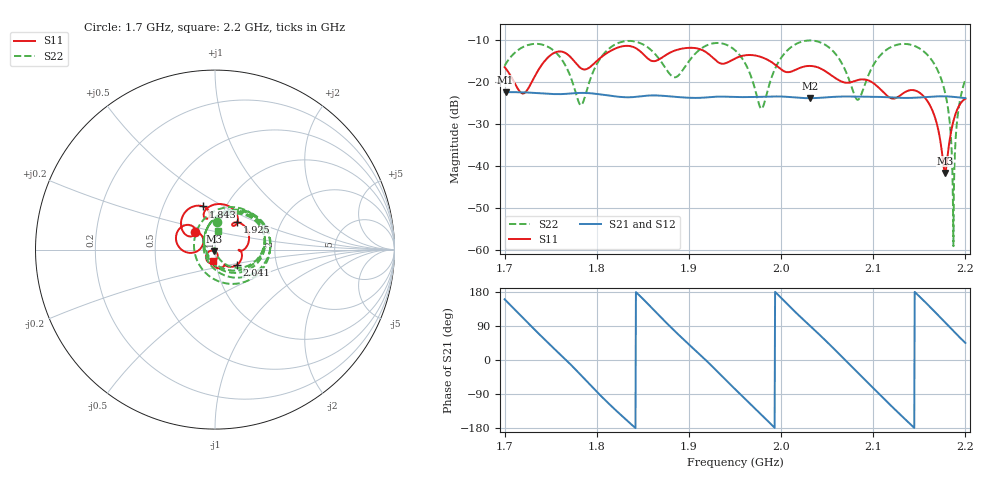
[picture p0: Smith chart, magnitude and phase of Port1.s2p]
# Hz S RI R 50
! CMT, CMT808U, 21440046, 21.4.3/4
! Date: 6/12/2026 9:23:09 AM
! Data: Format (Calibration Info)
! Freq	S11:Re/Im(F2)	S41:Re/Im(F2)	S14:Re/Im(F2)	S44:Re/Im(F2)
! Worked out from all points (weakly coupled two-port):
!   1001 points, 1.7 GHz to 2.2 GHz, reference 50 ohm
!   highest |S21| = -22.38 dB at 1.701 GHz (marker M1); lowest = -23.8 dB at 2.031 GHz (marker M2)
!   lowest |S11| = -41.6 dB at 2.178 GHz (marker M3), VSWR 1.02, Z = 49.7 - j0.776 ohm
!   |S11| at or under -10 dB: start of sweep to end of sweep
!   |S22| runs from -59.1 to -10.1 dB; largest |S21 - S12| = 0.0012
!   S11 on the Smith chart (normalised r, x): 1.7 GHz: 0.78, +0.16; 1.843 GHz: 0.78, +0.40; 1.925 GHz: 1.22, +0.39; 2.041 GHz: 1.26, -0.22; 2.2 GHz: 0.97, -0.12
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1.7e9  -0.1124 0.1003  -0.0715 0.0258  -0.0716 0.0247  0.0105 0.1564
1.701e9  -0.107 0.0997  -0.0704 0.0288  -0.0705 0.0277  0.0172 0.1627
1.7205e9  -0.0697 0.0229  -0.0256 0.071  -0.0265 0.0704  0.1885 0.1842
1.7475e9  -0.1985 0.0117  0.0519 0.0509  0.0509 0.0514  0.258 -0.045
1.7835e9  -0.1083 0.096  0.0556 -0.0495  0.0561 -0.0485  -0.0523 -0.0116
1.8085e9  -0.1824 0.1087  -0.0174 -0.0681  -0.0163 -0.0682  0.0719 0.2111
1.8435e9  -0.0668 0.2405  -0.0669 0.00367  -0.0667 0.00267  0.2965 -0.0495
1.867e9  -0.0568 0.1759  -0.0338 0.0605  -0.0346 0.0597  0.0517 -0.1861
1.8855e9  -0.0362 0.2366  0.018 0.0643  0.0169 0.0643  -0.1134 -0.0159
1.9255e9  0.1248 0.1526  0.0637 -0.0199  0.0638 -0.0187  0.2178 0.1892
1.95e9  0.1155 0.1522  0.0153 -0.0648  0.0164 -0.0644  0.2314 -0.0636
1.979e9  0.1896 0.0569  -0.0548 -0.0384  -0.054 -0.0392  -0.045 -0.0174
2.001e9  0.139 -0.007  -0.0638 0.0215  -0.064 0.0203  0.029 0.1992
2.031e9  0.1466 -0.053  -0.0012 0.0644  -0.00234 0.0643  0.3019 0.0844
2.0335e9  0.1423 -0.0626  0.00516 0.0643  0.00402 0.0643  0.3077 0.0568
2.0405e9  0.1225 -0.0849  0.0228 0.0608  0.0217 0.0611  0.3019 -0.0215
2.083e9  0.0469 -0.095  0.0563 -0.0367  0.0568 -0.0357  -0.0592 -0.0175
2.117e9  -0.00979 -0.0655  -0.0279 -0.0598  -0.0269 -0.0602  0.1438 0.2088
2.1565e9  -0.0501 -0.0406  -0.059 0.0306  -0.0594 0.0296  0.2104 -0.0754
2.178e9  -0.00283 -0.0078  -0.0106 0.0669  -0.0117 0.0667  0.0369 -0.0652
2.187e9  0.015 -0.0309  0.0158 0.0649  0.0147 0.0651  -0.000978 0.000536
2.2e9  -0.0118 -0.0622  0.0456 0.0457  0.0447 0.0465  0.0186 0.1062
